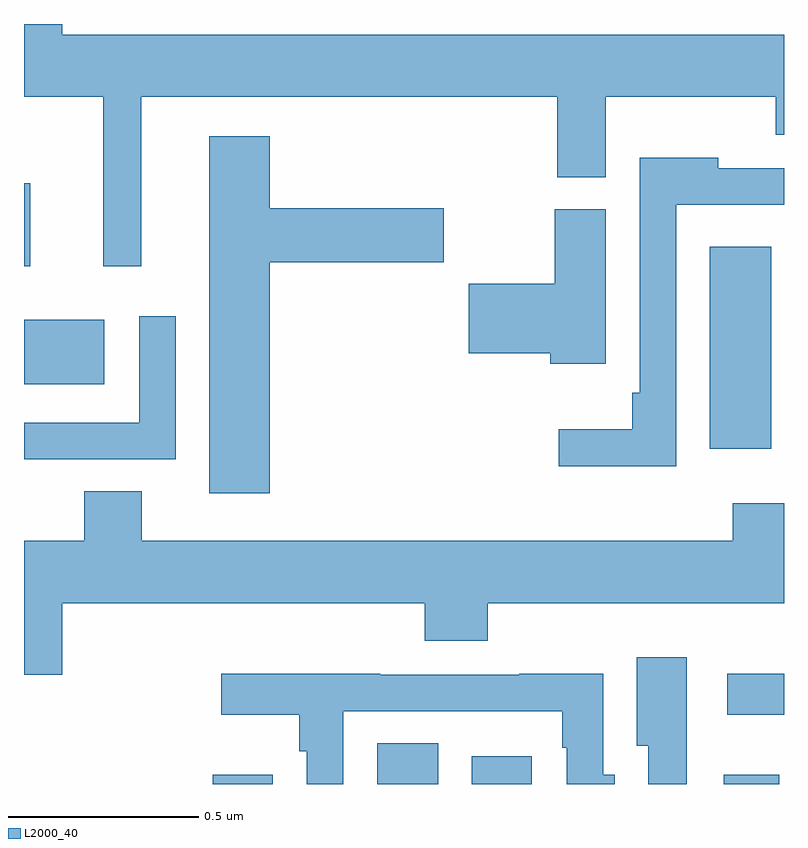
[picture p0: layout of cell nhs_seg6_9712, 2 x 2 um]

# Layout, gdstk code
import gdstk
lib = gdstk.Library(unit=1e-6, precision=1e-09)
def R(c, l, rs):  # rectangles x0, y0, x1, y1
    for r in rs: c.add(gdstk.rectangle(r[:2], r[2:], *l))
def P(c, l, *ps):  # polygons
    for p in ps: c.add(gdstk.Polygon(p, *l))
L2000_40 = (2000, 40)

nhs_seg6_9712 = lib.new_cell('nhs_seg6_9712')
R(nhs_seg6_9712, L2000_40, [(237.497,973.5,237.655,973.525), (237.929,973.5,238.09,973.607), (238.178,973.5,238.336,973.573), (238.841,973.5,238.987,973.525), (238.851,973.682,239,973.79), (238.805,974.382,238.966,974.914), (237,974.552,237.211,974.722), (237,974.862,237.017,975.081)])
P(nhs_seg6_9712, L2000_40, [(237.1,975.5),(237,975.5),(237,975.308),(237.209,975.308),(237.209,974.862),(237.308,974.862),(237.308,975.308),(238.403,975.308),(238.403,975.097),(238.531,975.097),(238.531,975.308),(238.978,975.308),(238.978,975.209),(239,975.209),(239,975.472),(237.1,975.472)],
  [(237.647,974.873),(238.105,974.873),(238.105,975.015),(237.647,975.015),(237.647,975.205),(237.488,975.205),(237.488,974.265),(237.647,974.265)],
  [(238.716,975.024),(239,975.024),(239,975.12),(238.827,975.12),(238.827,975.148),(238.62,975.148),(238.62,974.53),(238.6,974.53),(238.6,974.434),(238.407,974.434),(238.407,974.336),(238.716,974.336)],
  [(238.531,975.012),(238.397,975.012),(238.397,974.816),(238.17,974.816),(238.17,974.633),(238.385,974.633),(238.385,974.606),(238.531,974.606)],
  [(237.074,974.355),(237.399,974.355),(237.399,974.731),(237.303,974.731),(237.303,974.451),(237,974.451),(237,974.354),(237.074,974.354)],
  [(237.1,973.976),(238.055,973.976),(238.055,973.877),(238.22,973.877),(238.22,973.976),(239,973.976),(239,974.239),(238.865,974.239),(238.865,974.14),(237.31,974.14),(237.31,974.27),(237.158,974.27),(237.158,974.14),(237,974.14),(237,973.788),(237.1,973.788)],
  [(238.744,973.834),(238.613,973.834),(238.613,973.601),(238.643,973.601),(238.643,973.5),(238.744,973.5)],
  [(237.84,973.692),(238.416,973.692),(238.416,973.595),(238.428,973.595),(238.428,973.5),(238.555,973.5),(238.555,973.524),(238.524,973.524),(238.524,973.79),(238.303,973.79),(238.303,973.788),(237.937,973.788),(237.937,973.79),(237.519,973.79),(237.519,973.682),(237.724,973.682),(237.724,973.586),(237.744,973.586),(237.744,973.5),(237.84,973.5)])

lib.write_gds('nhs_seg6_9712.gds')
